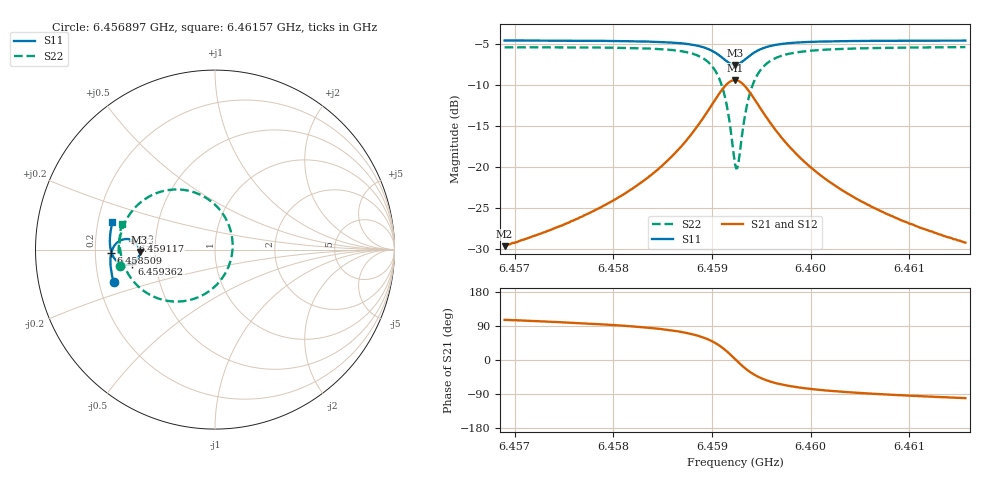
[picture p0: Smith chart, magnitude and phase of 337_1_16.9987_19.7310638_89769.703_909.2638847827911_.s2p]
#  HZ  S  RI  R  50.00
! Rohde & Schwarz Vector Network Analyzer
! Rohde-Schwarz,ZNB20-2Port,1311601062101988,3.16
! Created: UTC 3/20/2024, 11:07:09 PM
! freq[Hz]  re:S11  im:S11  re:S21  im:S21  re:S12  im:S12  re:S22  im:S22
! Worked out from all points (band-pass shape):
!   401 points, 6.456897 GHz to 6.46157 GHz, reference 50 ohm
!   highest |S21| = -9.38 dB at 6.459234 GHz (marker M1); lowest = -29.7 dB at 6.456897 GHz (marker M2)
!   |S21| within 3 dB of the highest: 6.459 GHz to 6.459467 GHz (467 kHz wide, 0.00723 % of centre)
!   lowest |S11| = -7.5 dB at 6.459234 GHz (marker M3), VSWR 2.45, Z = 20.4 - j0.645 ohm
!   |S11| at or under -10 dB: nowhere
!   |S22| runs from -20.2 to -5.4 dB; largest |S21 - S12| = 0.013
!   S11 on the Smith chart (normalised r, x): 6.456897 GHz: 0.26, -0.14; 6.458509 GHz: 0.27, -0.02; 6.459117 GHz: 0.37, +0.05; 6.459362 GHz: 0.37, -0.07; 6.46157 GHz: 0.26, +0.12
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6.4568973e9  -0.5647 -0.1783  -0.00896 0.0316  -0.00746 0.0318  -0.53 -0.0909
6.45768e9  -0.5797 -0.1103  -0.00592 0.0494  -0.00347 0.0488  -0.5367 -0.000709
6.4581005e9  -0.583 -0.0685  -0.000464 0.0679  0.00269 0.0667  -0.5298 0.0643
6.4584627e9  -0.5796 -0.0258  0.0131 0.0971  0.0171 0.0945  -0.5053 0.1436
6.4585094e9  -0.5783 -0.0194  0.0165 0.1025  0.0205 0.0995  -0.499 0.1566
6.4587196e9  -0.5664 0.0125  0.042 0.1338  0.0462 0.1292  -0.4514 0.2275
6.4588715e9  -0.5455 0.0389  0.0839 0.164  0.0873 0.1575  -0.3745 0.2911
6.4590234e9  -0.4998 0.0588  0.1744 0.183  0.1754 0.1757  -0.2099 0.3351
6.4591168e9  -0.4557 0.049  0.2631 0.1527  0.2633 0.1466  -0.0467 0.2865
6.4591635e9  -0.4348 0.0304  0.3062 0.1105  0.3074 0.1053  0.0347 0.2119
6.4592336e9  -0.4201 -0.013  0.3392 0.0154  0.3425 0.00839  0.0982 0.0362
6.4592453e9  -0.4205 -0.0209  0.339 -0.00193  0.3426 -0.00967  0.0979 0.00351
6.4592687e9  -0.4238 -0.0364  0.3336 -0.0362  0.3371 -0.0452  0.0871 -0.0608
6.4593621e9  -0.4609 -0.078  0.2646 -0.1354  0.2636 -0.1482  -0.0516 -0.2441
6.4594088e9  -0.4834 -0.0849  0.2211 -0.1575  0.2171 -0.1702  -0.1383 -0.2803
6.4594672e9  -0.5082 -0.0839  0.1727 -0.167  0.1661 -0.1777  -0.2333 -0.2889
6.4596191e9  -0.5492 -0.0623  0.0909 -0.1512  0.0826 -0.157  -0.3877 -0.2366
6.4597826e9  -0.5694 -0.0349  0.049 -0.1243  0.0417 -0.1269  -0.4622 -0.1668
6.4600163e9  -0.5811 -0.00127  0.0225 -0.0954  0.0167 -0.0958  -0.5057 -0.0908
6.4603784e9  -0.5857 0.0413  0.00615 -0.0684  0.00225 -0.068  -0.5272 -0.0104
6.4607989e9  -0.5837 0.0832  -0.00121 -0.051  -0.00411 -0.0501  -0.5311 0.0552
6.4615699e9  -0.5714 0.1512  -0.00638 -0.034  -0.00808 -0.0331  -0.5197 0.1449
